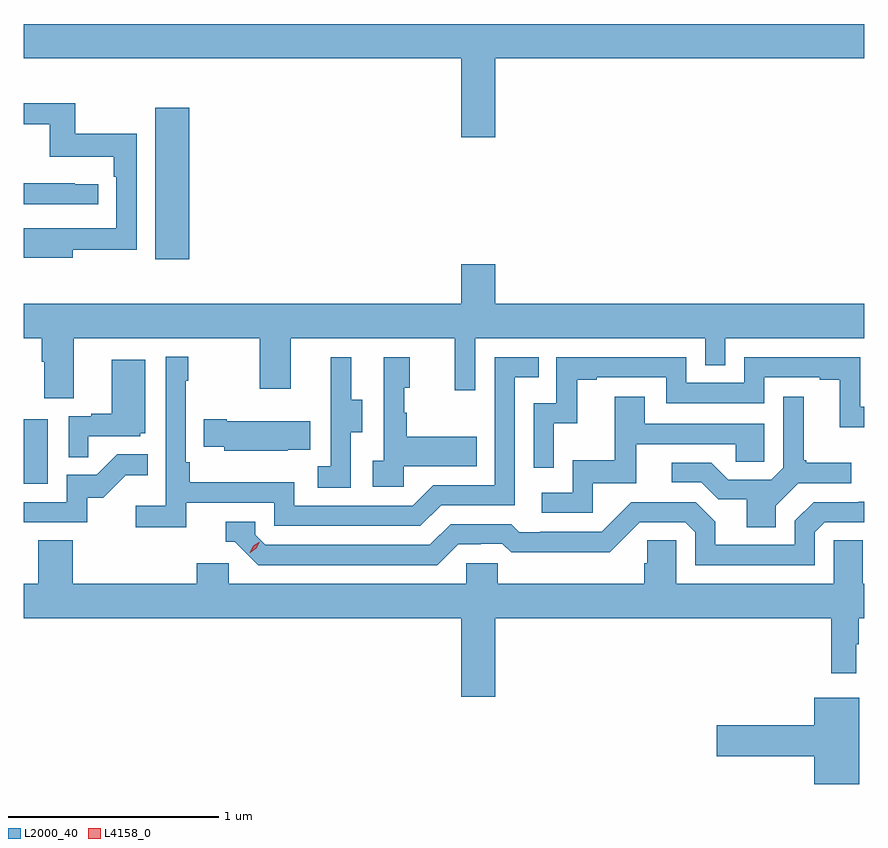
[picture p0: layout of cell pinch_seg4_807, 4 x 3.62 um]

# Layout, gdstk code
import gdstk
lib = gdstk.Library(unit=1e-6, precision=1e-09)
def R(c, l, rs):  # rectangles x0, y0, x1, y1
    for r in rs: c.add(gdstk.rectangle(r[:2], r[2:], *l))
def P(c, l, *ps):  # polygons
    for p in ps: c.add(gdstk.Polygon(p, *l))
L2000_40 = (2000, 40)
L4158_0 = (4158, 0)

pinch_seg4_807 = lib.new_cell('pinch_seg4_807')
R(pinch_seg4_807, L2000_40, [(798.291,797.46,798.406,797.767), (798.917,798.528,799.078,799.249)])
P(pinch_seg4_807, L2000_40, [(800.536,799.484),(802.291,799.484),(802.291,799.648),(798.291,799.648),(798.291,799.484),(800.372,799.484),(800.372,799.11),(800.536,799.11)],
  [(798.523,798.574),(798.828,798.574),(798.828,799.126),(798.535,799.126),(798.535,799.272),(798.291,799.272),(798.291,799.171),(798.414,799.171),(798.414,799.016),(798.719,799.016),(798.719,798.92),(798.732,798.92),(798.732,798.675),(798.419,798.675),(798.419,798.676),(798.291,798.676),(798.291,798.536),(798.523,798.536)],
  [(798.646,798.885),(798.533,798.885),(798.533,798.89),(798.291,798.89),(798.291,798.789),(798.646,798.789)],
  [(798.529,798.152),(799.414,798.152),(799.414,797.913),(799.561,797.913),(799.561,798.152),(800.342,798.152),(800.342,797.904),(800.439,797.904),(800.439,798.152),(801.534,798.152),(801.534,798.025),(801.63,798.025),(801.63,798.152),(802.291,798.152),(802.291,798.316),(800.536,798.316),(800.536,798.505),(800.372,798.505),(800.372,798.316),(798.291,798.316),(798.291,798.152),(798.377,798.152),(798.377,798.04),(798.389,798.04),(798.389,797.866),(798.529,797.866)],
  [(799.064,797.37),(799.482,797.37),(799.482,797.259),(800.179,797.259),(800.278,797.358),(800.628,797.358),(800.628,797.967),(800.741,797.967),(800.741,798.063),(800.532,798.063),(800.532,797.454),(800.241,797.454),(800.142,797.355),(799.578,797.355),(799.578,797.467),(799.082,797.467),(799.082,797.563),(799.062,797.563),(799.062,797.951),(799.075,797.951),(799.075,798.064),(798.966,798.064),(798.966,797.356),(798.825,797.356),(798.825,797.254),(799.064,797.254)],
  [(800.814,797.747),(800.924,797.747),(800.924,797.955),(801.019,797.955),(801.019,797.967),(801.348,797.967),(801.348,797.844),(801.816,797.844),(801.816,797.967),(802.079,797.967),(802.079,797.955),(802.175,797.955),(802.175,797.729),(802.291,797.729),(802.291,797.827),(802.272,797.827),(802.272,798.063),(801.72,798.063),(801.72,797.94),(801.444,797.94),(801.444,798.063),(800.826,798.063),(800.826,797.844),(800.718,797.844),(800.718,797.535),(800.814,797.535)],
  [(799.848,797.704),(799.903,797.704),(799.903,797.859),(799.849,797.859),(799.849,798.061),(799.751,798.061),(799.751,797.847),(799.752,797.847),(799.752,797.543),(799.689,797.543),(799.689,797.44),(799.848,797.44)],
  [(800.1,797.543),(800.447,797.543),(800.447,797.683),(800.113,797.683),(800.113,797.798),(800.103,797.798),(800.103,797.916),(800.128,797.916),(800.128,798.061),(800.004,798.061),(800.004,797.57),(799.953,797.57),(799.953,797.445),(800.1,797.445)],
  [(798.599,797.685),(798.846,797.685),(798.846,797.7),(798.868,797.7),(798.868,798.049),(798.71,798.049),(798.71,797.794),(798.611,797.794),(798.611,797.781),(798.504,797.781),(798.504,797.587),(798.599,797.587)],
  [(801.871,797.356),(801.978,797.463),(802.228,797.463),(802.228,797.56),(802.015,797.56),(802.015,797.572),(802.003,797.572),(802.003,797.875),(801.906,797.875),(801.906,797.535),(801.849,797.478),(801.643,797.478),(801.562,797.559),(801.375,797.559),(801.375,797.466),(801.516,797.466),(801.596,797.386),(801.731,797.386),(801.731,797.254),(801.871,797.254)],
  [(801,797.463),(801.205,797.463),(801.205,797.649),(801.679,797.649),(801.679,797.565),(801.816,797.565),(801.816,797.745),(801.247,797.745),(801.247,797.875),(801.103,797.875),(801.103,797.572),(800.904,797.572),(800.904,797.418),(800.757,797.418),(800.757,797.322),(801,797.322)],
  [(799.547,797.621),(799.655,797.621),(799.655,797.758),(799.258,797.758),(799.258,797.766),(799.147,797.766),(799.147,797.636),(799.245,797.636),(799.245,797.618),(799.547,797.618)],
  [(798.594,797.394),(798.67,797.394),(798.777,797.501),(798.881,797.501),(798.881,797.6),(798.737,797.6),(798.639,797.502),(798.495,797.502),(798.495,797.373),(798.291,797.373),(798.291,797.277),(798.594,797.277)],
  [(800.359,797.172),(800.466,797.172),(800.466,797.175),(800.569,797.175),(800.611,797.133),(800.844,797.133),(800.844,797.135),(801.08,797.135),(801.222,797.277),(801.438,797.277),(801.486,797.229),(801.486,797.073),(802.056,797.073),(802.056,797.229),(802.104,797.277),(802.291,797.277),(802.291,797.375),(802.266,797.375),(802.266,797.373),(802.05,797.373),(801.96,797.283),(801.96,797.169),(801.583,797.169),(801.583,797.279),(801.489,797.373),(801.183,797.373),(801.042,797.232),(800.749,797.232),(800.749,797.229),(800.65,797.229),(800.611,797.268),(800.322,797.268),(800.223,797.169),(799.44,797.169),(799.392,797.217),(799.392,797.28),(799.253,797.28),(799.253,797.184),(799.296,797.184),(799.407,797.073),(800.26,797.073)],
  [(800.536,796.82),(802.135,796.82),(802.135,796.557),(802.252,796.557),(802.252,796.697),(802.264,796.697),(802.264,796.82),(802.291,796.82),(802.291,796.984),(802.285,796.984),(802.285,797.192),(802.146,797.192),(802.146,796.984),(801.396,796.984),(801.396,797.192),(801.259,797.192),(801.259,797.082),(801.245,797.082),(801.245,796.984),(800.547,796.984),(800.547,797.082),(800.397,797.082),(800.397,796.984),(799.266,796.984),(799.266,797.082),(799.115,797.082),(799.115,796.984),(798.524,796.984),(798.524,797.192),(798.359,797.192),(798.359,796.984),(798.291,796.984),(798.291,796.82),(800.372,796.82),(800.372,796.446),(800.536,796.446)],
  [(802.267,796.441),(802.052,796.441),(802.052,796.31),(801.588,796.31),(801.588,796.163),(802.052,796.163),(802.052,796.031),(802.267,796.031)])
P(pinch_seg4_807, L4158_0, [(799.367,797.132),(799.367,797.132),(799.383,797.165),(799.414,797.185),(799.414,797.185),(799.414,797.185),(799.398,797.152),(799.368,797.132)])

lib.write_gds('pinch_seg4_807.gds')
